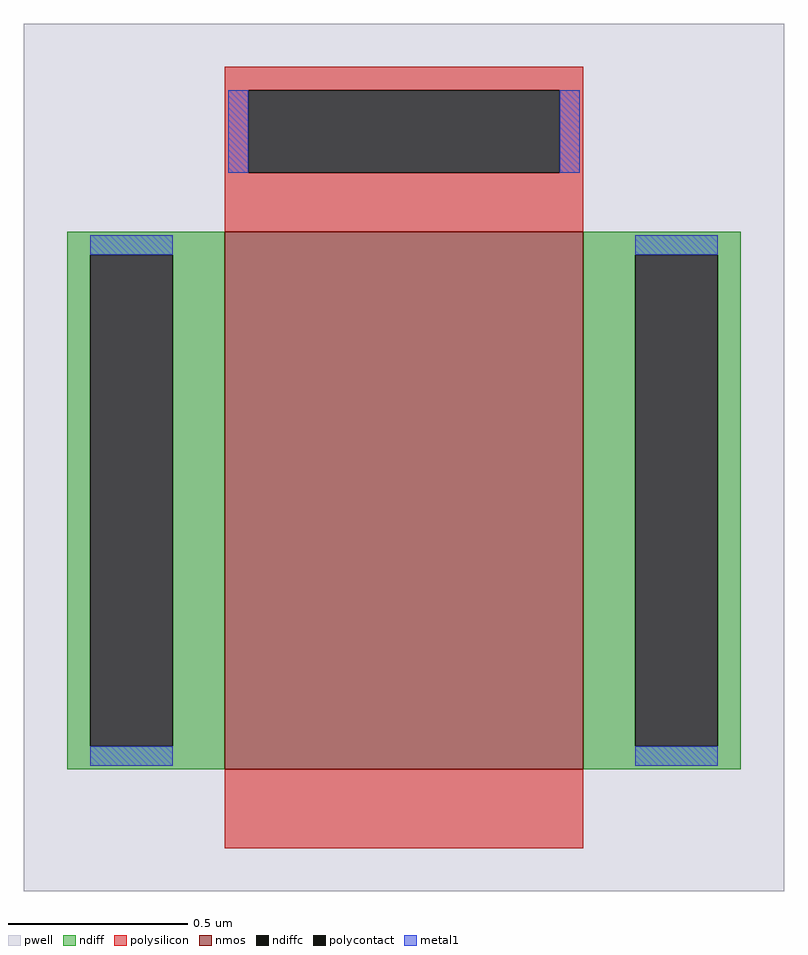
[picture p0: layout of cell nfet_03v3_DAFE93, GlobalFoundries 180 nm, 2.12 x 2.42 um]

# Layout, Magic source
magic
tech gf180mcuD
magscale 1 10
<< pwell >>
rect -212 -242 212 242
<< nmos >>
rect -100 -174 100 126
<< ndiff >>
rect -188 113 -100 126
rect -188 -161 -175 113
rect -129 -161 -100 113
rect -188 -174 -100 -161
rect 100 113 188 126
rect 100 -161 129 113
rect 175 -161 188 113
rect 100 -174 188 -161
<< ndiffc >>
rect -175 -161 -129 113
rect 129 -161 175 113
<< polysilicon >>
rect -100 205 100 218
rect -100 159 -87 205
rect 87 159 100 205
rect -100 126 100 159
rect -100 -218 100 -174
<< polycontact >>
rect -87 159 87 205
<< metal1 >>
rect -98 159 -87 205
rect 87 159 98 205
rect -175 113 -129 124
rect -175 -172 -129 -161
rect 129 113 175 124
rect 129 -172 175 -161
<< properties >>
string gencell nfet_03v3
string library gf180mcu
string parameters w 1.5 l 1 m 1 nf 1 diffcov 100 polycov 100 guard 0 glc 0 grc 0 gtc 0 gbc 0 tbcov 100 rlcov 100 topc 1 botc 0 poverlap 0 doverlap 1 lmin 0.28 wmin 0.22 class mosfet full_metal 0 compatible {nfet_03v3 nfet_05v0 nfet_06v0 nfet_06v0_nvt}
<< end >>
